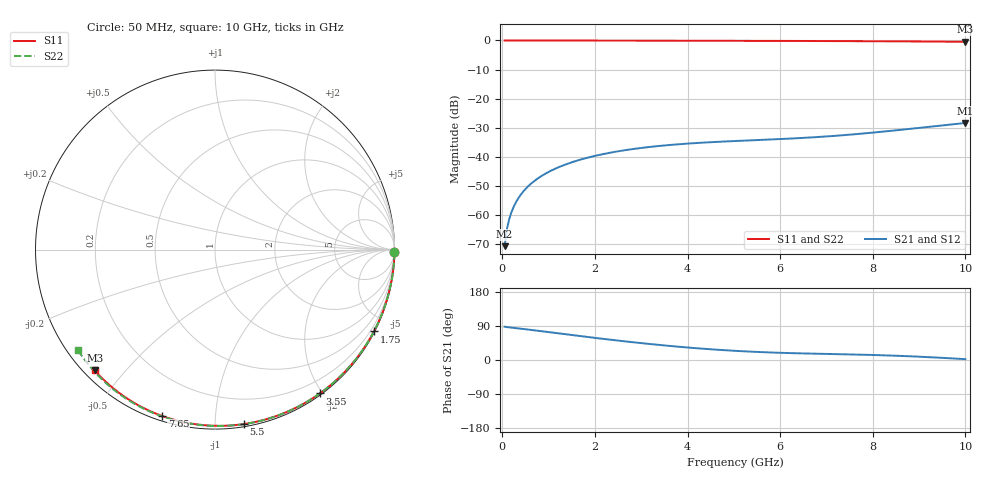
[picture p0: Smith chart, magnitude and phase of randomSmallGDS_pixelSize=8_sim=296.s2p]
! freq	dB(S11)	phase(S11)	dB(S12)	phase(S12)
!  dB(S21)	phase(S21)	dB(S22)	phase(S22)
!S-par simulation data
#  GHz  S  DB  R 50
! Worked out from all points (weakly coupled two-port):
!   200 points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, 50 MHz to 10 GHz, reference 50 ohm
!   highest |S21| = -28.32 dB at 10 GHz (marker M1); lowest = -70.6 dB at 50 MHz (marker M2)
!   lowest |S11| = -0.4 dB at 10 GHz (marker M3), VSWR 38.76, Z = 1.51 - j20.8 ohm
!   |S11| at or under -10 dB: nowhere
!   |S22| runs from -0.5 to 0.0 dB; largest |S21 - S12| = 0
!   S11 on the Smith chart (normalised r, x): 50 MHz: open; 1.75 GHz: 0.04, -4.12; 3.55 GHz: 0.02, -1.97; 5.5 GHz: 0.02, -1.18; 7.65 GHz: 0.02, -0.73; 10 GHz: 0.03, -0.42
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0.05  -0.00 -0.8  -70.59 87.9  -70.59 87.9  -0.00 -0.9
0.1  -0.00 -1.6  -64.71 86.8  -64.71 86.8  -0.00 -1.7
0.15  -0.00 -2.4  -61.28 86.1  -61.28 86.1  -0.00 -2.6
0.2  -0.00 -3.2  -58.84 85.5  -58.84 85.5  -0.00 -3.4
0.25  -0.00 -4.0  -56.93 84.9  -56.93 84.9  -0.00 -4.3
0.35  -0.00 -5.5  -54.05 83.5  -54.05 83.5  -0.00 -5.9
0.5  -0.01 -7.9  -50.99 81.3  -50.99 81.3  -0.01 -8.5
0.7  -0.01 -11.0  -48.12 78.2  -48.12 78.2  -0.01 -11.8
1  -0.02 -15.7  -45.11 73.6  -45.11 73.6  -0.02 -16.9
1.35  -0.03 -21.1  -42.65 68.1  -42.65 68.1  -0.03 -22.7
1.75  -0.03 -27.3  -40.61 62.1  -40.61 62.1  -0.04 -29.2
2.5  -0.05 -38.6  -38.04 51.2  -38.04 51.2  -0.05 -41.3
3.4  -0.07 -51.8  -36.18 39.6  -36.18 39.6  -0.07 -55.4
3.55  -0.07 -53.9  -35.96 37.8  -35.96 37.8  -0.08 -57.7
4.3  -0.09 -64.5  -35.09 30.1  -35.09 30.1  -0.10 -68.9
5.05  -0.11 -74.7  -34.49 24.0  -34.49 24.0  -0.12 -79.7
5.5  -0.13 -80.7  -34.18 21.3  -34.18 21.3  -0.14 -86.1
6.7  -0.18 -96.0  -33.25 16.8  -33.25 16.8  -0.20 -102.2
7.65  -0.24 -107.6  -32.13 14.4  -32.13 14.4  -0.26 -114.5
8.35  -0.29 -115.8  -31.08 11.9  -31.08 11.9  -0.31 -123.3
9.2  -0.37 -125.7  -29.67 7.6  -29.67 7.6  -0.39 -133.8
10  -0.45 -134.9  -28.32 2.2  -28.32 2.2  -0.47 -143.6
